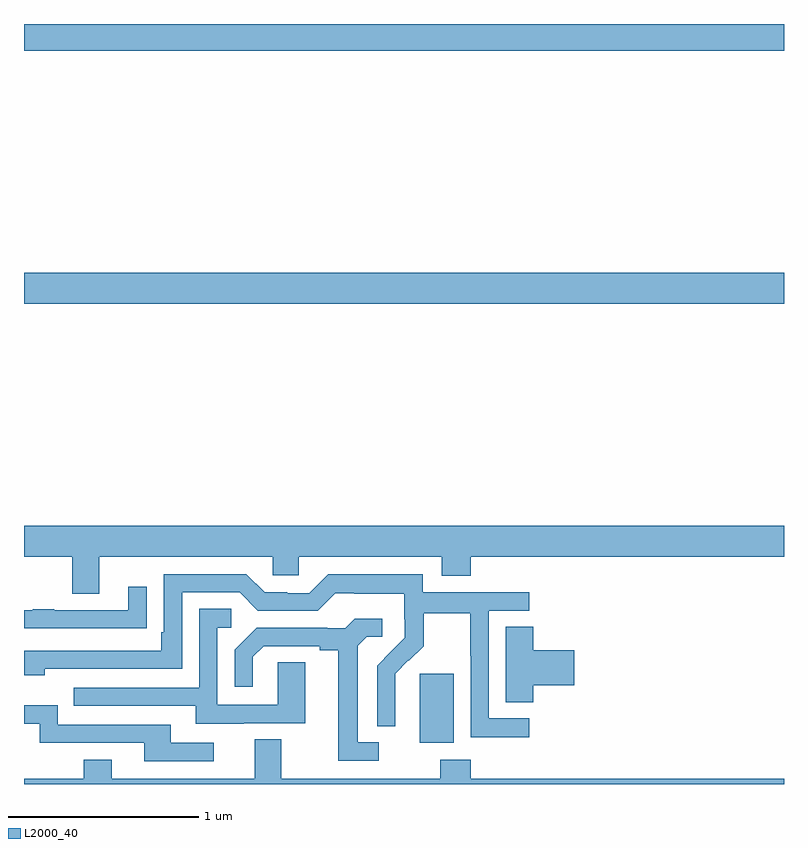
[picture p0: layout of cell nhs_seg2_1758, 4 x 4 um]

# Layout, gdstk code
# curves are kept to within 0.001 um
import gdstk
lib = gdstk.Library(unit=1e-6, precision=1e-09)
def R(c, l, rs):  # rectangles x0, y0, x1, y1
    for r in rs: c.add(gdstk.rectangle(r[:2], r[2:], *l))
def P(c, l, *ps):  # polygons
    for p in ps: c.add(gdstk.Polygon(p, *l))
L2000_40 = (2000, 40)

nhs_seg2_1758 = lib.new_cell('nhs_seg2_1758')
R(nhs_seg2_1758, L2000_40, [(205.082,620.018,205.261,620.379), (203,622.328,207,622.492), (203,623.66,207,623.8)])
P(nhs_seg2_1758, L2000_40, [(203.395,620.996),(204.309,620.996),(204.309,620.898),(204.447,620.898),(204.447,620.996),(205.199,620.996),(205.199,620.897),(205.352,620.897),(205.352,620.996),(207,620.996),(207,621.16),(203,621.16),(203,620.996),(203.255,620.996),(203.255,620.802),(203.395,620.802)],
  [(205.66,620.145),(205.446,620.145),(205.446,620.712),(205.66,620.712),(205.66,620.808),(205.098,620.808),(205.098,620.905),(204.601,620.905),(204.501,620.805),(204.386,620.805),(204.386,620.808),(204.267,620.808),(204.171,620.904),(203.736,620.904),(203.736,620.599),(203.723,620.599),(203.723,620.502),(203,620.502),(203,620.372),(203.108,620.372),(203.108,620.406),(203.832,620.406),(203.832,620.808),(204.135,620.808),(204.231,620.712),(204.546,620.712),(204.639,620.805),(204.739,620.805),(204.739,620.801),(205.002,620.801),(205.002,620.667),(205.004,620.667),(205.004,620.57),(204.858,620.422),(204.858,620.104),(204.954,620.104),(204.953,620.381),(205.023,620.451),(205.026,620.448),(205.103,620.525),(205.103,620.7),(205.348,620.7),(205.348,620.476),(205.35,620.476),(205.35,620.047),(205.66,620.047)],
  [(203.543,620.62),(203.645,620.62),(203.645,620.839),(203.549,620.839),(203.549,620.715),(203.159,620.715),(203.159,620.72),(203.047,620.72),(203.047,620.715),(203,620.715),(203,620.619),(203.543,620.619)],
  [(204.157,620.121),(204.481,620.121),(204.481,620.441),(204.336,620.441),(204.336,620.217),(204.018,620.217),(204.018,620.622),(204.091,620.622),(204.091,620.723),(203.922,620.723),(203.922,620.307),(203.263,620.307),(203.263,620.211),(203.903,620.211),(203.903,620.117),(204.157,620.117)],
  [(204.868,620.019),(204.757,620.019),(204.757,620.527),(204.804,620.574),(204.886,620.574),(204.886,620.671),(204.742,620.671),(204.69,620.619),(204.596,620.619),(204.596,620.622),(204.224,620.622),(204.108,620.506),(204.108,620.313),(204.205,620.313),(204.205,620.469),(204.262,620.526),(204.557,620.526),(204.557,620.504),(204.653,620.504),(204.653,619.923),(204.868,619.923)],
  [(205.679,620.321),(205.897,620.321),(205.897,620.504),(205.679,620.504),(205.679,620.627),(205.535,620.627),(205.535,620.23),(205.679,620.23)],
  [(203.998,620.016),(203.773,620.016),(203.773,620.112),(203.178,620.112),(203.178,620.215),(203,620.215),(203,620.118),(203.082,620.118),(203.082,620.016),(203.633,620.016),(203.633,619.92),(203.998,619.92)],
  [(207,619.828),(205.352,619.828),(205.352,619.927),(205.192,619.927),(205.192,619.828),(204.355,619.828),(204.355,620.036),(204.215,620.036),(204.215,619.828),(203.461,619.828),(203.461,619.927),(203.314,619.927),(203.314,619.828),(203,619.828),(203,619.8),(207,619.8)])

lib.write_gds('nhs_seg2_1758.gds')
